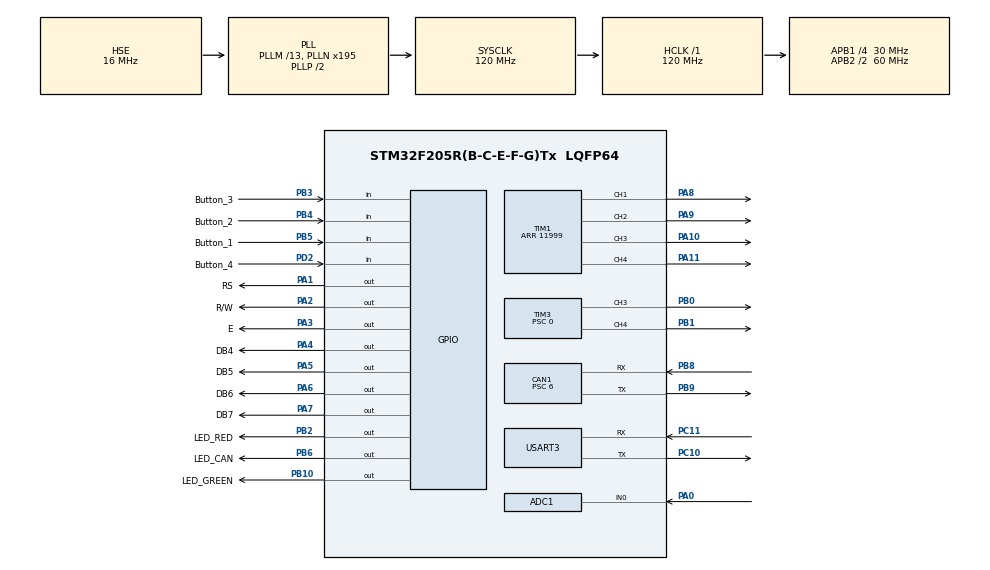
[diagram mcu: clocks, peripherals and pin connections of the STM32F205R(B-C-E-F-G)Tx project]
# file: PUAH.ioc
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ADC1.Channel-0\#ChannelRegularConversion=ADC_CHANNEL_0
ADC1.NbrOfConversionFlag=1
ADC1.Rank-0\#ChannelRegularConversion=1
ADC1.SamplingTime-0\#ChannelRegularConversion=ADC_SAMPLETIME_15CYCLES
ADC1.ScanConvMode=ENABLE
ADC1.master=1
CAN1.ABOM=ENABLE
CAN1.BS1=CAN_BS1_16TQ
CAN1.BS2=CAN_BS2_3TQ
CAN1.CalculateBaudRate=250000
CAN1.CalculateTimeBit=4000.00
CAN1.CalculateTimeQuantum=200.0
CAN1.NART=ENABLE
CAN1.Prescaler=6
CAN1.TXFP=ENABLE
Dma.ADC1.0.Direction=DMA_PERIPH_TO_MEMORY
Dma.ADC1.0.FIFOMode=DMA_FIFOMODE_DISABLE
Dma.ADC1.0.Instance=DMA2_Stream0
Dma.ADC1.0.MemDataAlignment=DMA_MDATAALIGN_HALFWORD
Dma.ADC1.0.MemInc=DMA_MINC_ENABLE
Dma.ADC1.0.Mode=DMA_NORMAL
Dma.ADC1.0.PeriphDataAlignment=DMA_PDATAALIGN_HALFWORD
Dma.ADC1.0.PeriphInc=DMA_PINC_DISABLE
Dma.ADC1.0.Priority=DMA_PRIORITY_LOW
Dma.Request0=ADC1
Dma.Request1=USART3_TX
Dma.Request2=USART3_RX
Dma.USART3_RX.2.Direction=DMA_PERIPH_TO_MEMORY
Dma.USART3_RX.2.FIFOMode=DMA_FIFOMODE_DISABLE
Dma.USART3_RX.2.Instance=DMA1_Stream1
Dma.USART3_RX.2.MemDataAlignment=DMA_MDATAALIGN_BYTE
Dma.USART3_RX.2.MemInc=DMA_MINC_ENABLE
Dma.USART3_RX.2.Mode=DMA_NORMAL
Dma.USART3_RX.2.PeriphDataAlignment=DMA_PDATAALIGN_BYTE
Dma.USART3_RX.2.PeriphInc=DMA_PINC_DISABLE
Dma.USART3_RX.2.Priority=DMA_PRIORITY_LOW
Dma.USART3_TX.1.Direction=DMA_MEMORY_TO_PERIPH
Dma.USART3_TX.1.FIFOMode=DMA_FIFOMODE_DISABLE
Dma.USART3_TX.1.Instance=DMA1_Stream3
Dma.USART3_TX.1.MemDataAlignment=DMA_MDATAALIGN_BYTE
Dma.USART3_TX.1.MemInc=DMA_MINC_ENABLE
Dma.USART3_TX.1.Mode=DMA_NORMAL
Dma.USART3_TX.1.PeriphDataAlignment=DMA_PDATAALIGN_BYTE
Dma.USART3_TX.1.PeriphInc=DMA_PINC_DISABLE
Dma.USART3_TX.1.Priority=DMA_PRIORITY_LOW
Mcu.Family=STM32F2
Mcu.Name=STM32F205R(B-C-E-F-G)Tx
Mcu.Package=LQFP64
NVIC.CAN1_RX0_IRQn=true\:0\:0\:false\:false\:true\:true\:true
NVIC.DMA1_Stream1_IRQn=true\:0\:0\:false\:false\:true\:false\:true
NVIC.DMA1_Stream3_IRQn=true\:0\:0\:false\:false\:true\:false\:true
NVIC.DMA2_Stream0_IRQn=true\:0\:0\:false\:false\:true\:false\:true
NVIC.PVD_IRQn=true\:0\:0\:false\:false\:true\:true\:true
NVIC.PriorityGroup=NVIC_PRIORITYGROUP_4
NVIC.USART3_IRQn=true\:0\:0\:false\:false\:true\:true\:true
PA0-WKUP.Signal=ADCx_IN0
PA1.GPIO_Label=RS
PA1.Signal=GPIO_Output
PA10.Signal=S_TIM1_CH3
PA11.Signal=S_TIM1_CH4
PA13.Mode=Serial_Wire
PA13.Signal=SYS_JTMS-SWDIO
PA14.Mode=Serial_Wire
PA14.Signal=SYS_JTCK-SWCLK
PA2.GPIO_Label=R/W
PA2.Signal=GPIO_Output
PA3.GPIO_Label=E
PA3.Signal=GPIO_Output
PA4.GPIO_Label=DB4
PA4.Signal=GPIO_Output
PA5.GPIO_Label=DB5
PA5.Signal=GPIO_Output
PA6.GPIO_Label=DB6
PA6.Signal=GPIO_Output
PA7.GPIO_Label=DB7
PA7.Signal=GPIO_Output
PA8.Signal=S_TIM1_CH1
PA9.Signal=S_TIM1_CH2
PB0.Signal=S_TIM3_CH3
PB1.Signal=S_TIM3_CH4
PB10.GPIO_Label=LED_GREEN
PB10.Signal=GPIO_Output
PB2.GPIO_Label=LED_RED
PB2.Signal=GPIO_Output
PB3.GPIO_Label=Button_3
PB3.GPIO_PuPd=GPIO_PULLDOWN
PB3.Signal=GPIO_Input
PB4.GPIO_Label=Button_2
PB4.GPIO_PuPd=GPIO_PULLDOWN
PB4.Signal=GPIO_Input
PB5.GPIO_Label=Button_1
PB5.GPIO_PuPd=GPIO_PULLDOWN
PB5.Signal=GPIO_Input
PB6.GPIO_Label=LED_CAN
PB6.Signal=GPIO_Output
PB8.Mode=CAN_Activate
PB8.Signal=CAN1_RX
PB9.Mode=CAN_Activate
PB9.Signal=CAN1_TX
PC10.Mode=Asynchronous
PC10.Signal=USART3_TX
PC11.Mode=Asynchronous
PC11.Signal=USART3_RX
PD2.GPIO_Label=Button_4
PD2.GPIO_PuPd=GPIO_PULLDOWN
PD2.Signal=GPIO_Input
PH0-OSC_IN.Mode=HSE-External-Oscillator
PH0-OSC_IN.Signal=RCC_OSC_IN
PH1-OSC_OUT.Mode=HSE-External-Oscillator
PH1-OSC_OUT.Signal=RCC_OSC_OUT
ProjectManager.HeapSize=0x200
ProjectManager.StackSize=0x400
ProjectManager.TargetToolchain=STM32CubeIDE
RCC.48MHZClocksFreq_Value=60000000
RCC.AHBFreq_Value=120000000
RCC.APB1CLKDivider=RCC_HCLK_DIV4
RCC.APB1Freq_Value=30000000
RCC.APB1TimFreq_Value=60000000
RCC.APB2CLKDivider=RCC_HCLK_DIV2
RCC.APB2Freq_Value=60000000
RCC.APB2TimFreq_Value=120000000
RCC.CortexFreq_Value=120000000
RCC.HCLKFreq_Value=120000000
RCC.HSE_VALUE=16000000
RCC.HSI_VALUE=16000000
RCC.LSE_VALUE=32768
RCC.PLLM=13
RCC.PLLN=195
RCC.PLLSourceVirtual=RCC_PLLSOURCE_HSE
RCC.SYSCLKFreq_VALUE=120000000
RCC.SYSCLKSource=RCC_SYSCLKSOURCE_PLLCLK
RCC.VCOOutputFreq_Value=240000000
SH.ADCx_IN0.0=ADC1_IN0,IN0
SH.S_TIM1_CH1.0=TIM1_CH1,PWM Generation1 CH1
SH.S_TIM1_CH2.0=TIM1_CH2,PWM Generation2 CH2
SH.S_TIM1_CH3.0=TIM1_CH3,PWM Generation3 CH3
SH.S_TIM1_CH4.0=TIM1_CH4,PWM Generation4 CH4
SH.S_TIM3_CH3.0=TIM3_CH3,PWM Generation3 CH3
SH.S_TIM3_CH4.0=TIM3_CH4,PWM Generation4 CH4
TIM1.Channel-PWM\ Generation1\ CH1=TIM_CHANNEL_1
TIM1.Channel-PWM\ Generation2\ CH2=TIM_CHANNEL_2
TIM1.Channel-PWM\ Generation3\ CH3=TIM_CHANNEL_3
TIM1.Channel-PWM\ Generation4\ CH4=TIM_CHANNEL_4
TIM1.Period=11999
TIM3.Channel-PWM\ Generation3\ CH3=TIM_CHANNEL_3
TIM3.Channel-PWM\ Generation4\ CH4=TIM_CHANNEL_4
TIM3.Period=29999
TIM3.Prescaler=0
USART3.VirtualMode=VM_ASYNC
board=custom

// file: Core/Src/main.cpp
/* USER CODE BEGIN Header */
/**
  ******************************************************************************
  * @file           : main.c
  * @brief          : Main program body
  ******************************************************************************
  * @attention
  *
  * <h2><center>&copy; Copyright (c) 2024 STMicroelectronics.
  * All rights reserved.</center></h2>
  *
  * This software component is licensed by ST under BSD 3-Clause license,
  * the "License"; You may not use this file except in compliance with the
  * License. You may obtain a copy of the License at:
  *                        opensource.org/licenses/BSD-3-Clause
  *
  ******************************************************************************
  */
/* USER CODE END Header */
#include "main.h"

/* USER CODE BEGIN Includes */

#include "timers.h"

/* USER CODE END Includes */

ADC_HandleTypeDef hadc1;
DMA_HandleTypeDef hdma_adc1;

CAN_HandleTypeDef hcan1;

TIM_HandleTypeDef htim1;
TIM_HandleTypeDef htim3;

UART_HandleTypeDef huart3;
DMA_HandleTypeDef hdma_usart3_tx;
DMA_HandleTypeDef hdma_usart3_rx;

void SystemClock_Config(void);
static void MX_GPIO_Init(void);
static void MX_DMA_Init(void);
static void MX_ADC1_Init(void);
static void MX_CAN1_Init(void);
static void MX_TIM1_Init(void);
static void MX_TIM3_Init(void);
static void MX_USART3_UART_Init(void);
/* USER CODE BEGIN PFP */
//static void PVD_Config();

/* USER CODE END PFP */

/* USER CODE BEGIN 0 */
#include "device.h"
#include "lcd.h"
#include "flash.h"
#include "menu.h"
/* USER CODE END 0 */

int main(void)
{

  /* MCU Configuration--------------------------------------------------------*/

  /* Reset of all peripherals, Initializes the Flash interface and the Systick. */
  HAL_Init();

  /* Configure the system clock */
  SystemClock_Config();

  /* Initialize all configured peripherals */
  MX_GPIO_Init();
  MX_DMA_Init();
  MX_ADC1_Init();

  MX_TIM1_Init();
  MX_TIM3_Init();
  MX_USART3_UART_Init();
  /* USER CODE BEGIN 2 */
//  PVD_Config();

   struct Flash_data{
	  uint16_t current = 30;
	  uint8_t light = 90;
   }flash;

//   decltype(auto) saver = Saver<Flash_data>(&flash);

   auto _= Flash_updater_impl<Flash_data>{&flash};

   decltype(auto) led_red     = Pin{GPIOB, LED_RED_Pin        };
   decltype(auto) led_green   = Pin{GPIOB, LED_GREEN_Pin      };
   decltype(auto) led_can     = Pin{GPIOB, LED_CAN_Pin        };
   decltype(auto) but1        = Pin{GPIOB, Button_1_Pin       };
   decltype(auto) but2        = Pin{GPIOB, Button_2_Pin       };
   decltype(auto) but3        = Pin{GPIOB, Button_3_Pin       };
   decltype(auto) but4        = Pin{GPIOD, Button_4_Pin       };
   decltype(auto) rs          = Pin{GPIOA, RS_Pin             };
   decltype(auto) rw          = Pin{GPIOA, R_W_Pin            };
   decltype(auto) e           = Pin{GPIOA, E_Pin              };
   decltype(auto) db4         = Pin{GPIOA, DB4_Pin            };
   decltype(auto) db5         = Pin{GPIOA, DB5_Pin            };
   decltype(auto) db6         = Pin{GPIOA, DB6_Pin            };
   decltype(auto) db7         = Pin{GPIOA, DB7_Pin            };

   decltype(auto) lcd = LCD{rs, rw, e, db4, db5, db6, db7, flash.light};

   decltype(auto) adc = ADC_ {adc_callback, 1, 100};

   decltype(auto) buzzer = Buzzer{};

   decltype(auto) light_1 = Backlight{&htim1, TIM_CHANNEL_1};
   decltype(auto) light_2 = Backlight{&htim1, TIM_CHANNEL_2};
   decltype(auto) light_3 = Backlight{&htim1, TIM_CHANNEL_3};
   decltype(auto) light_4 = Backlight{&htim1, TIM_CHANNEL_4};

   decltype(auto) up = Button<false>{but1};
   decltype(auto) down = Button<false>{but2};
   decltype(auto) ok = Button<false>{but3};
   decltype(auto) enter = Button<false>{but4};
   MX_CAN1_Init();
   decltype(auto) can = CAN<In_id, Out_id>{led_can, interrupt_can_rx, 250};
   can.inID.zu.U_error_hard = 0xFFFF;
  //   can.inID.zu.error_soft._1.Cap = true;
  //   can.inID.zu.error_hard._1.Ucc = false;
  //   can.inID.tab.error_tab_1._69 = true;
  //
  //   can.inID.tab.t_cell_max = -20;
  //   can.inID.zu.Uin = -100;
  //   can.inID.zu.Iin = -25;
  //
  //   can.inID.tab.qty_tab = 3;
  //
  //   can.inID.tab.soc = 87;
  //
  //   can.inID.tab.state_tab.charge_enable = true;
  //   can.inID.tab.state_tab.external_heating = true;
  //   can.inID.tab.state_tab.rerun_soft = true;
  //   can.inID.tab.state_tab_2.balancing_on = true;
  //   can.inID.tab.state_tab_2.bms_on = true;
  //
  //   can.inID.tab.error_tab_1.t_bms_65 = true;
  //   can.inID.tab.error_tab_2_1.contactor = true;
  //   can.inID.tab.error_tab_2_2.can = true;
  //   can.inID.tab.error_tab_3_1.u_board_18 = true;
  //   can.inID.tab.error_tab_3_2.fuse_3 = true;
   decltype(auto) menu = Menu<Flash_data>{flash, adc, lcd, buzzer, can, up, down, ok, enter};

  /* USER CODE END 2 */

  /* Infinite loop */
  /* USER CODE BEGIN WHILE */
  while (1)
  {
//	  saver();
	  if(can.outID.control.ah) {
		  light_1.bright();
	  } else {
		  light_1.pale();
	  }

	  if(can.outID.control.charge) {
		  light_2.bright();
	  } else {
		  light_2.pale();
	  }
    /* USER CODE END WHILE */

  }
}

void SystemClock_Config(void)
{
  RCC_OscInitTypeDef RCC_OscInitStruct = {0};
  RCC_ClkInitTypeDef RCC_ClkInitStruct = {0};

  /** Initializes the RCC Oscillators according to the specified parameters
  * in the RCC_OscInitTypeDef structure.
  */
  RCC_OscInitStruct.OscillatorType = RCC_OSCILLATORTYPE_HSE;
  RCC_OscInitStruct.HSEState = RCC_HSE_ON;
  RCC_OscInitStruct.PLL.PLLState = RCC_PLL_ON;
  RCC_OscInitStruct.PLL.PLLSource = RCC_PLLSOURCE_HSE;
  RCC_OscInitStruct.PLL.PLLM = 13;
  RCC_OscInitStruct.PLL.PLLN = 195;
  RCC_OscInitStruct.PLL.PLLP = RCC_PLLP_DIV2;
  RCC_OscInitStruct.PLL.PLLQ = 4;
  if (HAL_RCC_OscConfig(&RCC_OscInitStruct) != HAL_OK)
  {
    Error_Handler();
  }
  /** Initializes the CPU, AHB and APB buses clocks
  */
  RCC_ClkInitStruct.ClockType = RCC_CLOCKTYPE_HCLK|RCC_CLOCKTYPE_SYSCLK
                              |RCC_CLOCKTYPE_PCLK1|RCC_CLOCKTYPE_PCLK2;
  RCC_ClkInitStruct.SYSCLKSource = RCC_SYSCLKSOURCE_PLLCLK;
  RCC_ClkInitStruct.AHBCLKDivider = RCC_SYSCLK_DIV1;
  RCC_ClkInitStruct.APB1CLKDivider = RCC_HCLK_DIV4;
  RCC_ClkInitStruct.APB2CLKDivider = RCC_HCLK_DIV2;

  if (HAL_RCC_ClockConfig(&RCC_ClkInitStruct, FLASH_LATENCY_3) != HAL_OK)
  {
    Error_Handler();
  }
}

static void MX_ADC1_Init(void)
{

  ADC_ChannelConfTypeDef sConfig = {0};

  /** Configure the global features of the ADC (Clock, Resolution, Data Alignment and number of conversion)
  */
  hadc1.Instance = ADC1;
  hadc1.Init.ClockPrescaler = ADC_CLOCK_SYNC_PCLK_DIV2;
  hadc1.Init.Resolution = ADC_RESOLUTION_12B;
  hadc1.Init.ScanConvMode = ENABLE;
  hadc1.Init.ContinuousConvMode = DISABLE;
  hadc1.Init.DiscontinuousConvMode = DISABLE;
  hadc1.Init.ExternalTrigConvEdge = ADC_EXTERNALTRIGCONVEDGE_NONE;
  hadc1.Init.ExternalTrigConv = ADC_SOFTWARE_START;
  hadc1.Init.DataAlign = ADC_DATAALIGN_RIGHT;
  hadc1.Init.NbrOfConversion = 1;
  hadc1.Init.DMAContinuousRequests = DISABLE;
  hadc1.Init.EOCSelection = ADC_EOC_SINGLE_CONV;
  if (HAL_ADC_Init(&hadc1) != HAL_OK)
  {
    Error_Handler();
  }
  /** Configure for the selected ADC regular channel its corresponding rank in the sequencer and its sample time.
  */
  sConfig.Channel = ADC_CHANNEL_0;
  sConfig.Rank = 1;
  sConfig.SamplingTime = ADC_SAMPLETIME_15CYCLES;
  if (HAL_ADC_ConfigChannel(&hadc1, &sConfig) != HAL_OK)
  {
    Error_Handler();
  }

}

static void MX_CAN1_Init(void)
{

  hcan1.Instance = CAN1;
  hcan1.Init.Prescaler = 6;
  hcan1.Init.Mode = CAN_MODE_NORMAL;
  hcan1.Init.SyncJumpWidth = CAN_SJW_1TQ;
  hcan1.Init.TimeSeg1 = CAN_BS1_16TQ;
  hcan1.Init.TimeSeg2 = CAN_BS2_3TQ;
  hcan1.Init.TimeTriggeredMode = DISABLE;
  hcan1.Init.AutoBusOff = ENABLE;
  hcan1.Init.AutoWakeUp = DISABLE;
  hcan1.Init.AutoRetransmission = ENABLE;
  hcan1.Init.ReceiveFifoLocked = DISABLE;
  hcan1.Init.TransmitFifoPriority = ENABLE;
  if (HAL_CAN_Init(&hcan1) != HAL_OK)
  {
    Error_Handler();
  }
  /* USER CODE BEGIN CAN1_Init 2 */
  CAN_FilterTypeDef canfilterconfig;

      	canfilterconfig.FilterActivation = CAN_FILTER_ENABLE;
      	canfilterconfig.FilterBank = 0;
      	canfilterconfig.FilterFIFOAssignment = CAN_FILTER_FIFO0;
      	canfilterconfig.FilterIdHigh = 0;
      	canfilterconfig.FilterIdLow = 0;
      	canfilterconfig.FilterMaskIdHigh = 0;
      	canfilterconfig.FilterMaskIdLow = 0;
      	canfilterconfig.FilterMode = CAN_FILTERMODE_IDMASK;
      	canfilterconfig.FilterScale = CAN_FILTERSCALE_32BIT;
      	canfilterconfig.SlaveStartFilterBank = 14; // how many filters to assign to the CAN1 (master can)

      	HAL_CAN_ConfigFilter(&hcan1, &canfilterconfig);

      	HAL_CAN_Start(&hcan1);
      	HAL_CAN_ActivateNotification(&hcan1, CAN_IT_RX_FIFO0_MSG_PENDING);

  /* USER CODE END CAN1_Init 2 */

}

static void MX_TIM1_Init(void)
{

  TIM_MasterConfigTypeDef sMasterConfig = {0};
  TIM_OC_InitTypeDef sConfigOC = {0};
  TIM_BreakDeadTimeConfigTypeDef sBreakDeadTimeConfig = {0};

  htim1.Instance = TIM1;
  htim1.Init.Prescaler = 0;
  htim1.Init.CounterMode = TIM_COUNTERMODE_UP;
  htim1.Init.Period = 11999;
  htim1.Init.ClockDivision = TIM_CLOCKDIVISION_DIV1;
  htim1.Init.RepetitionCounter = 0;
  htim1.Init.AutoReloadPreload = TIM_AUTORELOAD_PRELOAD_DISABLE;
  if (HAL_TIM_PWM_Init(&htim1) != HAL_OK)
  {
    Error_Handler();
  }
  sMasterConfig.MasterOutputTrigger = TIM_TRGO_RESET;
  sMasterConfig.MasterSlaveMode = TIM_MASTERSLAVEMODE_DISABLE;
  if (HAL_TIMEx_MasterConfigSynchronization(&htim1, &sMasterConfig) != HAL_OK)
  {
    Error_Handler();
  }
  sConfigOC.OCMode = TIM_OCMODE_PWM1;
  sConfigOC.Pulse = 0;
  sConfigOC.OCPolarity = TIM_OCPOLARITY_HIGH;
  sConfigOC.OCNPolarity = TIM_OCNPOLARITY_HIGH;
  sConfigOC.OCFastMode = TIM_OCFAST_DISABLE;
  sConfigOC.OCIdleState = TIM_OCIDLESTATE_RESET;
  sConfigOC.OCNIdleState = TIM_OCNIDLESTATE_RESET;
  if (HAL_TIM_PWM_ConfigChannel(&htim1, &sConfigOC, TIM_CHANNEL_1) != HAL_OK)
  {
    Error_Handler();
  }
  if (HAL_TIM_PWM_ConfigChannel(&htim1, &sConfigOC, TIM_CHANNEL_2) != HAL_OK)
  {
    Error_Handler();
  }
  if (HAL_TIM_PWM_ConfigChannel(&htim1, &sConfigOC, TIM_CHANNEL_3) != HAL_OK)
  {
    Error_Handler();
  }
  if (HAL_TIM_PWM_ConfigChannel(&htim1, &sConfigOC, TIM_CHANNEL_4) != HAL_OK)
  {
    Error_Handler();
  }
  sBreakDeadTimeConfig.OffStateRunMode = TIM_OSSR_DISABLE;
  sBreakDeadTimeConfig.OffStateIDLEMode = TIM_OSSI_DISABLE;
  sBreakDeadTimeConfig.LockLevel = TIM_LOCKLEVEL_OFF;
  sBreakDeadTimeConfig.DeadTime = 0;
  sBreakDeadTimeConfig.BreakState = TIM_BREAK_DISABLE;
  sBreakDeadTimeConfig.BreakPolarity = TIM_BREAKPOLARITY_HIGH;
  sBreakDeadTimeConfig.AutomaticOutput = TIM_AUTOMATICOUTPUT_DISABLE;
  if (HAL_TIMEx_ConfigBreakDeadTime(&htim1, &sBreakDeadTimeConfig) != HAL_OK)
  {
    Error_Handler();
  }
  HAL_TIM_MspPostInit(&htim1);

}

static void MX_TIM3_Init(void)
{

  TIM_MasterConfigTypeDef sMasterConfig = {0};
  TIM_OC_InitTypeDef sConfigOC = {0};

  htim3.Instance = TIM3;
  htim3.Init.Prescaler = 0;
  htim3.Init.CounterMode = TIM_COUNTERMODE_UP;
  htim3.Init.Period = 29999;
  htim3.Init.ClockDivision = TIM_CLOCKDIVISION_DIV1;
  htim3.Init.AutoReloadPreload = TIM_AUTORELOAD_PRELOAD_DISABLE;
  if (HAL_TIM_PWM_Init(&htim3) != HAL_OK)
  {
    Error_Handler();
  }
  sMasterConfig.MasterOutputTrigger = TIM_TRGO_RESET;
  sMasterConfig.MasterSlaveMode = TIM_MASTERSLAVEMODE_DISABLE;
  if (HAL_TIMEx_MasterConfigSynchronization(&htim3, &sMasterConfig) != HAL_OK)
  {
    Error_Handler();
  }
  sConfigOC.OCMode = TIM_OCMODE_PWM1;
  sConfigOC.Pulse = 0;
  sConfigOC.OCPolarity = TIM_OCPOLARITY_HIGH;
  sConfigOC.OCFastMode = TIM_OCFAST_DISABLE;
  if (HAL_TIM_PWM_ConfigChannel(&htim3, &sConfigOC, TIM_CHANNEL_3) != HAL_OK)
  {
    Error_Handler();
  }
  if (HAL_TIM_PWM_ConfigChannel(&htim3, &sConfigOC, TIM_CHANNEL_4) != HAL_OK)
  {
    Error_Handler();
  }
  HAL_TIM_MspPostInit(&htim3);

}

static void MX_USART3_UART_Init(void)
{

  huart3.Instance = USART3;
  huart3.Init.BaudRate = 115200;
  huart3.Init.WordLength = UART_WORDLENGTH_8B;
  huart3.Init.StopBits = UART_STOPBITS_1;
  huart3.Init.Parity = UART_PARITY_NONE;
  huart3.Init.Mode = UART_MODE_TX_RX;
  huart3.Init.HwFlowCtl = UART_HWCONTROL_NONE;
  huart3.Init.OverSampling = UART_OVERSAMPLING_16;
  if (HAL_UART_Init(&huart3) != HAL_OK)
  {
    Error_Handler();
  }

}

static void MX_DMA_Init(void)
{

  /* DMA controller clock enable */
  __HAL_RCC_DMA2_CLK_ENABLE();
  __HAL_RCC_DMA1_CLK_ENABLE();

  /* DMA interrupt init */
  /* DMA1_Stream1_IRQn interrupt configuration */
  HAL_NVIC_SetPriority(DMA1_Stream1_IRQn, 0, 0);
  HAL_NVIC_EnableIRQ(DMA1_Stream1_IRQn);
  /* DMA1_Stream3_IRQn interrupt configuration */
  HAL_NVIC_SetPriority(DMA1_Stream3_IRQn, 0, 0);
  HAL_NVIC_EnableIRQ(DMA1_Stream3_IRQn);
  /* DMA2_Stream0_IRQn interrupt configuration */
  HAL_NVIC_SetPriority(DMA2_Stream0_IRQn, 0, 0);
  HAL_NVIC_EnableIRQ(DMA2_Stream0_IRQn);

}

static void MX_GPIO_Init(void)
{
  GPIO_InitTypeDef GPIO_InitStruct = {0};

  /* GPIO Ports Clock Enable */
  __HAL_RCC_GPIOH_CLK_ENABLE();
  __HAL_RCC_GPIOA_CLK_ENABLE();
  __HAL_RCC_GPIOB_CLK_ENABLE();
  __HAL_RCC_GPIOC_CLK_ENABLE();
  __HAL_RCC_GPIOD_CLK_ENABLE();

  /*Configure GPIO pin Output Level */
  HAL_GPIO_WritePin(GPIOA, RS_Pin|R_W_Pin|E_Pin|DB4_Pin
                          |DB5_Pin|DB6_Pin|DB7_Pin, GPIO_PIN_RESET);

  /*Configure GPIO pin Output Level */
  HAL_GPIO_WritePin(GPIOB, LED_RED_Pin|LED_GREEN_Pin|LED_CAN_Pin, GPIO_PIN_RESET);

  /*Configure GPIO pins : RS_Pin R_W_Pin E_Pin DB4_Pin
                           DB5_Pin DB6_Pin DB7_Pin */
  GPIO_InitStruct.Pin = RS_Pin|R_W_Pin|E_Pin|DB4_Pin
                          |DB5_Pin|DB6_Pin|DB7_Pin;
  GPIO_InitStruct.Mode = GPIO_MODE_OUTPUT_PP;
  GPIO_InitStruct.Pull = GPIO_NOPULL;
  GPIO_InitStruct.Speed = GPIO_SPEED_FREQ_LOW;
  HAL_GPIO_Init(GPIOA, &GPIO_InitStruct);

  /*Configure GPIO pins : LED_RED_Pin LED_GREEN_Pin LED_CAN_Pin */
  GPIO_InitStruct.Pin = LED_RED_Pin|LED_GREEN_Pin|LED_CAN_Pin;
  GPIO_InitStruct.Mode = GPIO_MODE_OUTPUT_PP;
  GPIO_InitStruct.Pull = GPIO_NOPULL;
  GPIO_InitStruct.Speed = GPIO_SPEED_FREQ_LOW;
  HAL_GPIO_Init(GPIOB, &GPIO_InitStruct);

  /*Configure GPIO pin : Button_4_Pin */
  GPIO_InitStruct.Pin = Button_4_Pin;
  GPIO_InitStruct.Mode = GPIO_MODE_INPUT;
  GPIO_InitStruct.Pull = GPIO_PULLDOWN;
  HAL_GPIO_Init(Button_4_GPIO_Port, &GPIO_InitStruct);

  /*Configure GPIO pins : Button_3_Pin Button_2_Pin Button_1_Pin */
  GPIO_InitStruct.Pin = Button_3_Pin|Button_2_Pin|Button_1_Pin;
  GPIO_InitStruct.Mode = GPIO_MODE_INPUT;
  GPIO_InitStruct.Pull = GPIO_PULLDOWN;
  HAL_GPIO_Init(GPIOB, &GPIO_InitStruct);

}

/* USER CODE BEGIN 4 */

//void PVD_Config(void) {
//    // Настройка структуры PVD
//    PWR_PVDTypeDef sConfigPVD;
//    sConfigPVD.PVDLevel = PWR_PVDLEVEL_7;  // Уровень порога (например, 2.9V)
//    sConfigPVD.Mode = PWR_PVD_MODE_IT_RISING_FALLING;  // Прерывание при росте и падении напряжения
//
//    // Инициализация PVD
//    HAL_PWR_ConfigPVD(&sConfigPVD);
//
//    // Включение PVD
//    HAL_PWR_EnablePVD();
//
//    // Включение прерывания от PVD
//    HAL_NVIC_SetPriority(PVD_IRQn, 0, 0);
//    HAL_NVIC_EnableIRQ(PVD_IRQn);
//}

//void HAL_PWR_PVDCallback(){
//	HAL_TIM_PWM_Start(&htim1, TIM_CHANNEL_1);
//	TIM1->CCR1 = 6000;
//}

/* USER CODE END 4 */

void Error_Handler(void)
{
  __disable_irq();
  while (1)
  {
  }
}

/************************ (C) COPYRIGHT STMicroelectronics *****END OF FILE****/
